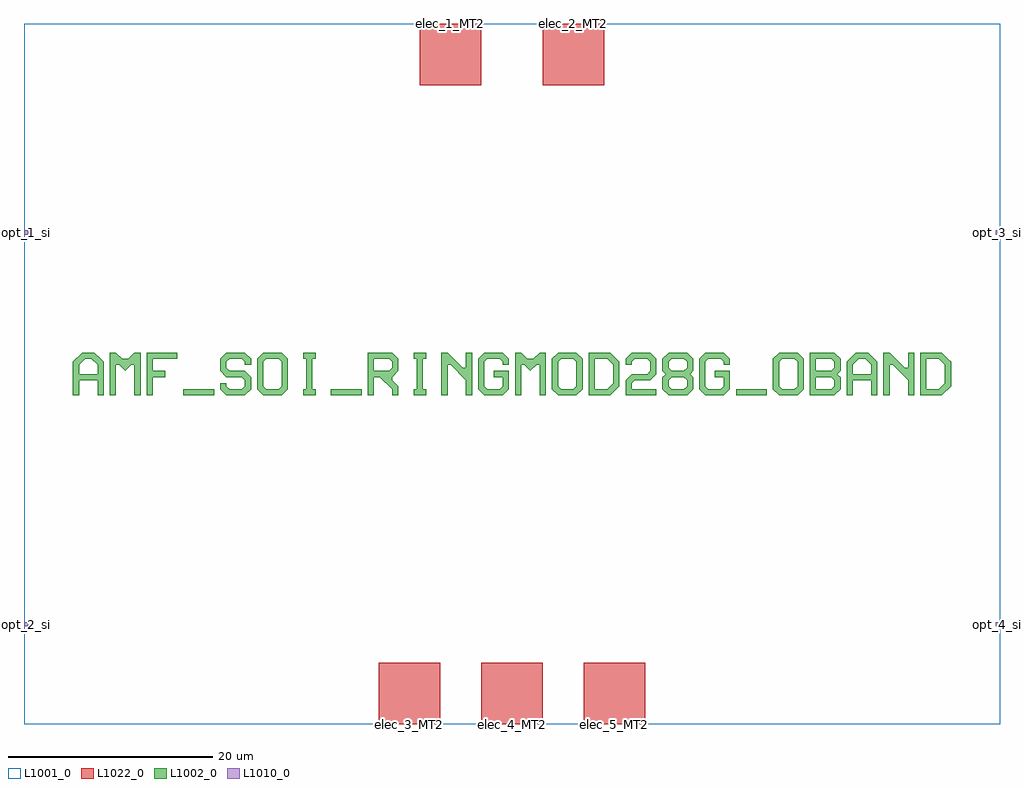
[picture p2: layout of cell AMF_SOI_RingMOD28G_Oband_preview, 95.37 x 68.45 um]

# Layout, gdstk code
import gdstk
lib = gdstk.Library(unit=1e-6, precision=1e-09)
def R(c, l, rs):  # rectangles x0, y0, x1, y1
    for r in rs: c.add(gdstk.rectangle(r[:2], r[2:], *l))
def A(c, l, x, y, w, h, nx, ny, dx, dy):  # array of equal rectangles
    R(c, l, [(x+i*dx, y+j*dy, x+i*dx+w, y+j*dy+h) for i in range(nx) for j in range(ny)])
def P(c, l, *ps):  # polygons
    for p in ps: c.add(gdstk.Polygon(p, *l))
L1001_0 = (1001, 0)
L1002_0 = (1002, 0)
L1010_0 = (1010, 0)
L1022_0 = (1022, 0)

amf_soi_ringmod28g_oband = lib.new_cell('AMF_SOI_RingMOD28G_Oband_preview')
R(amf_soi_ringmod28g_oband, L1001_0, [(0,-28.912,95.371,39.54)])
P(amf_soi_ringmod28g_oband, L1001_0, [(35.659,-28.775),(35.659,-28.775),(35.659,-28.775),(35.659,-28.775)])
R(amf_soi_ringmod28g_oband, L1002_0, [(15.585,3.214,18.586,3.814), (29.986,3.214,32.986,3.814), (69.586,3.214,72.586,3.814)])
P(amf_soi_ringmod28g_oband, L1002_0, [(4.785,3.214),(4.785,6.514),(5.685,7.414),(6.885,7.414),(7.485,6.814),(5.985,6.814),(5.385,6.214),(5.385,5.314),(7.185,5.314),(7.185,6.214),(6.585,6.814),(7.485,6.814),(7.785,6.514),(7.785,3.214),(7.185,3.214),(7.185,4.714),(5.385,4.714),(5.385,3.214)],
  [(8.385,3.214),(8.385,7.414),(8.985,7.414),(9.585,6.814),(10.185,6.814),(10.785,7.414),(11.385,7.414),(11.385,3.214),(10.785,3.214),(10.785,6.214),(10.485,6.214),(9.885,5.614),(9.285,6.214),(8.985,6.214),(8.985,3.214)],
  [(11.985,3.214),(11.985,7.414),(14.985,7.414),(14.985,6.814),(12.585,6.814),(12.585,5.614),(13.785,5.614),(13.785,5.014),(12.585,5.014),(12.585,3.214)],
  [(19.786,3.214),(19.186,3.814),(19.186,4.414),(19.786,4.414),(19.786,4.114),(20.086,3.814),(21.286,3.814),(21.586,4.114),(21.586,4.714),(21.286,5.014),(19.786,5.014),(19.186,5.614),(19.186,6.814),(19.786,7.414),(21.586,7.414),(22.186,6.814),(22.186,6.214),(21.586,6.214),(21.586,6.514),(21.286,6.814),(20.086,6.814),(19.786,6.514),(19.786,5.914),(20.086,5.614),(21.586,5.614),(22.186,5.014),(22.186,3.814),(21.586,3.214)],
  [(23.386,3.214),(22.786,3.814),(22.786,6.814),(23.386,7.414),(25.186,7.414),(25.786,6.814),(25.786,5.314),(25.186,5.314),(25.186,6.514),(24.886,6.814),(23.686,6.814),(23.386,6.514),(23.386,4.114),(23.686,3.814),(24.886,3.814),(25.186,4.114),(25.186,5.314),(25.786,5.314),(25.786,3.814),(25.186,3.214)],
  [(27.286,3.214),(27.286,3.814),(27.586,3.814),(27.586,6.814),(27.286,6.814),(27.286,7.414),(28.486,7.414),(28.486,6.814),(28.186,6.814),(28.186,3.814),(28.486,3.814),(28.486,3.214)],
  [(33.586,3.214),(33.586,7.414),(35.986,7.414),(36.586,6.814),(34.186,6.814),(34.186,5.614),(35.686,5.614),(35.986,5.914),(35.986,6.514),(35.686,6.814),(36.586,6.814),(36.586,5.614),(35.986,5.014),(35.986,4.714),(36.586,4.114),(36.586,3.214),(35.986,3.214),(35.986,3.814),(34.786,5.014),(34.186,5.014),(34.186,3.214)],
  [(38.086,3.214),(38.086,3.814),(38.386,3.814),(38.386,6.814),(38.086,6.814),(38.086,7.414),(39.286,7.414),(39.286,6.814),(38.986,6.814),(38.986,3.814),(39.286,3.814),(39.286,3.214)],
  [(40.786,3.214),(40.786,7.414),(41.386,7.414),(42.886,5.914),(43.186,5.914),(43.186,7.414),(43.786,7.414),(43.786,3.214),(43.186,3.214),(43.186,4.714),(41.686,6.214),(41.386,6.214),(41.386,3.214)],
  [(44.986,3.214),(44.386,3.814),(44.386,6.814),(44.986,7.414),(46.786,7.414),(47.386,6.814),(47.386,6.214),(46.786,6.214),(46.786,6.514),(46.486,6.814),(45.286,6.814),(44.986,6.514),(44.986,4.114),(45.286,3.814),(46.486,3.814),(46.786,4.114),(46.786,5.014),(45.886,5.014),(45.886,5.614),(47.386,5.614),(47.386,3.814),(46.786,3.214)],
  [(47.986,3.214),(47.986,7.414),(48.586,7.414),(49.186,6.814),(49.786,6.814),(50.386,7.414),(50.986,7.414),(50.986,3.214),(50.386,3.214),(50.386,6.214),(50.086,6.214),(49.486,5.614),(48.886,6.214),(48.586,6.214),(48.586,3.214)],
  [(52.186,3.214),(51.586,3.814),(51.586,6.814),(52.186,7.414),(53.986,7.414),(54.586,6.814),(54.586,5.314),(53.986,5.314),(53.986,6.514),(53.686,6.814),(52.486,6.814),(52.186,6.514),(52.186,4.114),(52.486,3.814),(53.686,3.814),(53.986,4.114),(53.986,5.314),(54.586,5.314),(54.586,3.814),(53.986,3.214)],
  [(55.186,3.214),(55.186,7.414),(57.286,7.414),(57.886,6.814),(55.786,6.814),(55.786,3.814),(56.986,3.814),(57.586,4.414),(57.586,6.214),(56.986,6.814),(57.886,6.814),(58.186,6.514),(58.186,4.114),(57.286,3.214)],
  [(58.786,3.214),(58.786,4.714),(59.386,5.314),(60.886,5.314),(61.186,5.614),(61.186,6.514),(60.886,6.814),(59.686,6.814),(59.386,6.514),(59.386,6.214),(58.786,6.214),(58.786,6.814),(59.386,7.414),(61.186,7.414),(61.786,6.814),(61.786,5.314),(61.186,4.714),(59.686,4.714),(59.386,4.414),(59.386,3.814),(61.786,3.814),(61.786,3.214)],
  [(62.986,3.214),(62.386,3.814),(62.386,5.014),(62.686,5.314),(62.386,5.614),(62.386,6.814),(62.986,7.414),(64.786,7.414),(65.386,6.814),(63.286,6.814),(62.986,6.514),(62.986,5.914),(63.286,5.614),(64.486,5.614),(64.786,5.914),(64.786,6.514),(64.486,6.814),(65.386,6.814),(65.386,5.614),(65.086,5.314),(65.386,5.014),(63.286,5.014),(62.986,4.714),(62.986,4.114),(63.286,3.814),(64.486,3.814),(64.786,4.114),(64.786,4.714),(64.486,5.014),(65.386,5.014),(65.386,3.814),(64.786,3.214)],
  [(66.586,3.214),(65.986,3.814),(65.986,6.814),(66.586,7.414),(68.386,7.414),(68.986,6.814),(68.986,6.214),(68.386,6.214),(68.386,6.514),(68.086,6.814),(66.886,6.814),(66.586,6.514),(66.586,4.114),(66.886,3.814),(68.086,3.814),(68.386,4.114),(68.386,5.014),(67.486,5.014),(67.486,5.614),(68.986,5.614),(68.986,3.814),(68.386,3.214)],
  [(73.786,3.214),(73.186,3.814),(73.186,6.814),(73.786,7.414),(75.586,7.414),(76.186,6.814),(76.186,5.314),(75.586,5.314),(75.586,6.514),(75.286,6.814),(74.086,6.814),(73.786,6.514),(73.786,4.114),(74.086,3.814),(75.286,3.814),(75.586,4.114),(75.586,5.314),(76.186,5.314),(76.186,3.814),(75.586,3.214)],
  [(76.786,3.214),(76.786,7.414),(79.186,7.414),(79.786,6.814),(77.386,6.814),(77.386,5.614),(78.886,5.614),(79.186,5.914),(79.186,6.514),(78.886,6.814),(79.786,6.814),(79.786,5.614),(79.486,5.314),(79.786,5.014),(77.386,5.014),(77.386,3.814),(78.886,3.814),(79.186,4.114),(79.186,4.714),(78.886,5.014),(79.786,5.014),(79.786,3.814),(79.186,3.214)],
  [(80.386,3.214),(80.386,6.514),(81.286,7.414),(82.486,7.414),(83.086,6.814),(81.586,6.814),(80.986,6.214),(80.986,5.314),(82.786,5.314),(82.786,6.214),(82.186,6.814),(83.086,6.814),(83.386,6.514),(83.386,3.214),(82.786,3.214),(82.786,4.714),(80.986,4.714),(80.986,3.214)],
  [(83.986,3.214),(83.986,7.414),(84.586,7.414),(86.086,5.914),(86.386,5.914),(86.386,7.414),(86.986,7.414),(86.986,3.214),(86.386,3.214),(86.386,4.714),(84.886,6.214),(84.586,6.214),(84.586,3.214)],
  [(87.586,3.214),(87.586,7.414),(89.686,7.414),(90.286,6.814),(88.186,6.814),(88.186,3.814),(89.386,3.814),(89.986,4.414),(89.986,6.214),(89.386,6.814),(90.286,6.814),(90.586,6.514),(90.586,4.114),(89.686,3.214)])
R(amf_soi_ringmod28g_oband, L1010_0, [(0,-19.345,0.41,-18.935), (94.961,-19.345,95.371,-18.935), (0,18.935,0.41,19.345), (94.961,18.935,95.371,19.345)])
A(amf_soi_ringmod28g_oband, L1022_0, 34.686, -28.912, 6, 6, 3, 1, 10, 0)
R(amf_soi_ringmod28g_oband, L1022_0, [(38.686,33.54,44.686,39.54), (50.686,33.54,56.686,39.54)])
amf_soi_ringmod28g_oband.add(gdstk.Label('opt_1_si', (0,19.14), layer=1010, texttype=0))
amf_soi_ringmod28g_oband.add(gdstk.Label('opt_2_si', (0,-19.14), layer=1010, texttype=0))
amf_soi_ringmod28g_oband.add(gdstk.Label('opt_3_si', (95.371,19.14), layer=1010, texttype=0))
amf_soi_ringmod28g_oband.add(gdstk.Label('opt_4_si', (95.371,-19.14), layer=1010, texttype=0))
amf_soi_ringmod28g_oband.add(gdstk.Label('elec_1_MT2', (41.686,39.54), layer=1022, texttype=0))
amf_soi_ringmod28g_oband.add(gdstk.Label('elec_2_MT2', (53.686,39.54), layer=1022, texttype=0))
amf_soi_ringmod28g_oband.add(gdstk.Label('elec_3_MT2', (37.686,-28.912), layer=1022, texttype=0))
amf_soi_ringmod28g_oband.add(gdstk.Label('elec_4_MT2', (47.686,-28.912), layer=1022, texttype=0))
amf_soi_ringmod28g_oband.add(gdstk.Label('elec_5_MT2', (57.686,-28.912), layer=1022, texttype=0))

lib.write_gds('AMF_SOI_RingMOD28G_Oband_preview.gds')
